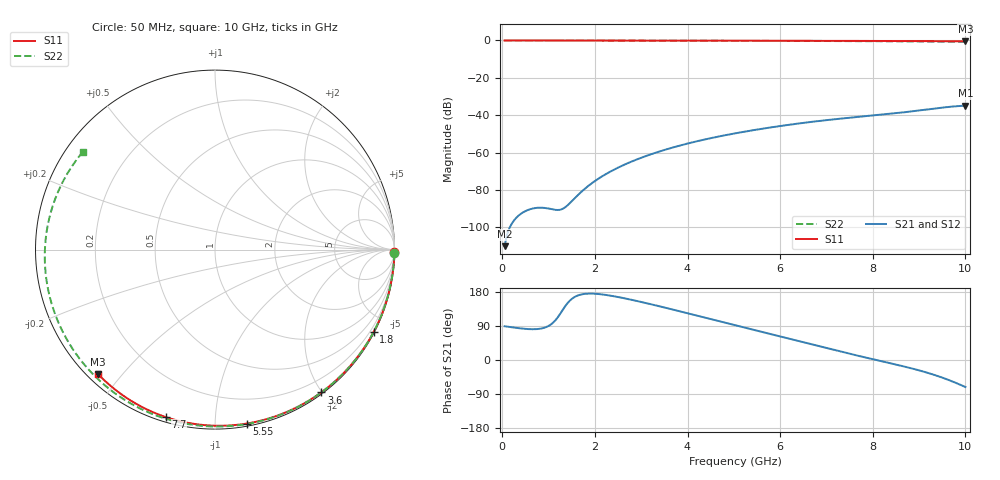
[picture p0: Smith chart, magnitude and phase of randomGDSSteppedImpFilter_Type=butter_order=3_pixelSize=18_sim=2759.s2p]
! freq	dB(S11)	phase(S11)	dB(S12)	phase(S12)
!  dB(S21)	phase(S21)	dB(S22)	phase(S22)
!S-par simulation data
#  GHz  S  DB  R 50
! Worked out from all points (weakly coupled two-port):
!   200 points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, 50 MHz to 10 GHz, reference 50 ohm
!   highest |S21| = -34.90 dB at 10 GHz (marker M1); lowest = -110.0 dB at 50 MHz (marker M2)
!   lowest |S11| = -0.4 dB at 10 GHz (marker M3), VSWR 40.42, Z = 1.47 - j21.6 ohm
!   |S11| at or under -10 dB: nowhere
!   |S22| runs from -0.8 to 0.0 dB; largest |S21 - S12| = 0
!   S11 on the Smith chart (normalised r, x): 50 MHz: open; 1.8 GHz: 0.04, -4.12; 3.6 GHz: 0.02, -1.99; 5.55 GHz: 0.02, -1.20; 7.7 GHz: 0.02, -0.75; 10 GHz: 0.03, -0.43
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0.05  -0.00 -0.8  -110.05 89.0  -110.05 89.0  -0.00 -1.2
0.85  -0.02 -13.0  -89.47 83.3  -89.47 83.3  -0.02 -19.6
1.3  -0.02 -19.8  -90.13 131.4  -90.13 131.4  -0.04 -29.9
1.75  -0.03 -26.5  -80.03 174.0  -80.03 174.0  -0.05 -40.0
1.8  -0.03 -27.3  -78.97 174.7  -78.97 174.7  -0.05 -41.1
2.1  -0.04 -31.7  -73.55 173.8  -73.55 173.8  -0.06 -47.7
2.45  -0.05 -36.9  -68.65 167.3  -68.65 167.3  -0.07 -55.4
2.9  -0.06 -43.4  -63.70 155.9  -63.70 155.9  -0.08 -65.1
3.4  -0.07 -50.5  -59.35 141.6  -59.35 141.6  -0.10 -75.7
3.6  -0.07 -53.3  -57.84 135.6  -57.84 135.6  -0.11 -79.8
4.3  -0.09 -63.0  -53.37 114.2  -53.37 114.2  -0.13 -94.2
5.05  -0.11 -73.1  -49.59 91.1  -49.59 91.1  -0.17 -109.3
5.55  -0.13 -79.7  -47.47 75.8  -47.47 75.8  -0.20 -119.3
6.1  -0.15 -86.7  -45.43 59.1  -45.43 59.1  -0.23 -130.2
6.7  -0.18 -94.2  -43.48 40.7  -43.48 40.7  -0.28 -142.2
7.2  -0.21 -100.4  -42.09 25.5  -42.09 25.5  -0.32 -152.4
7.7  -0.24 -106.4  -40.87 10.7  -40.87 10.7  -0.37 -162.8
8.35  -0.29 -114.1  -39.30 -7.7  -39.30 -7.7  -0.45 -176.9
8.8  -0.33 -119.4  -38.06 -20.9  -38.06 -20.9  -0.51 172.9
9.2  -0.36 -124.0  -36.84 -34.4  -36.84 -34.4  -0.58 163.5
9.6  -0.40 -128.6  -35.66 -51.0  -35.66 -51.0  -0.67 153.7
10  -0.43 -133.3  -34.90 -71.2  -34.90 -71.2  -0.77 143.6
